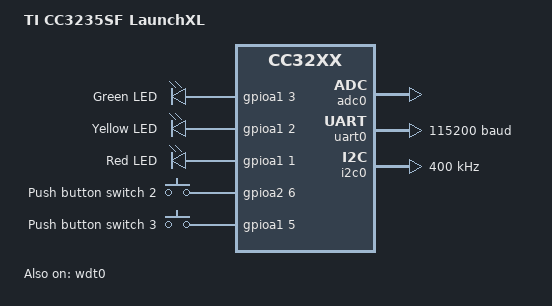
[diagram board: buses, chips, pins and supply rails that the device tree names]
/*
 * Copyright (c) 2019, Texas Instruments Incorporated
 *
 * SPDX-License-Identifier: Apache-2.0
 */

/dts-v1/;

#include <ti/cc3235sf.dtsi>
#include "cc3235sf_launchxl-pinctrl.dtsi"
#include <zephyr/dt-bindings/input/input-event-codes.h>

/ {
	model = "TI CC3235SF LaunchXL";
	compatible = "ti,cc3235sf-launchxl", "ti,cc3235sf", "ti,cc32xx";

	aliases {
		uart-0 = &uart0;
		uart-1 = &uart1;
		i2c-0 = &i2c0;
		led0 = &led0;
		led1 = &led1;
		led2 = &led2;
		/* sw0/1 alias defined for compatibility with samples */
		sw0 = &sw2;
		sw1 = &sw3;
		watchdog0 = &wdt0;
	};

	chosen {
		zephyr,sram = &sram0;
		zephyr,flash = &flash1;
		zephyr,console = &uart0;
		zephyr,shell-uart = &uart0;
	};

	leds {
		compatible = "gpio-leds";
		led0: led_0 {
			gpios = <&gpioa1 3 GPIO_ACTIVE_HIGH>;
			label = "Green LED";
		};
		led1: led_1 {
			gpios = <&gpioa1 2 GPIO_ACTIVE_HIGH>;
			label = "Yellow LED";
		};
		led2: led_2 {
			gpios = <&gpioa1 1 GPIO_ACTIVE_HIGH>;
			label = "Red LED";
		};
	};

	buttons {
		/* Push button 2 */
		compatible = "gpio-keys";
		sw2: button_0 {
			gpios = <&gpioa2 6 GPIO_ACTIVE_HIGH>;
			label = "Push button switch 2";
			zephyr,code = <INPUT_KEY_0>;
		};
		/* Push button 3 */
		sw3: button_1 {
			gpios = <&gpioa1 5 GPIO_ACTIVE_HIGH>;
			label = "Push button switch 3";
			zephyr,code = <INPUT_KEY_1>;
		};
	};
};

&adc0 {
	status = "okay";
};

&uart0 {
	status = "okay";
	current-speed = <115200>;
	pinctrl-0 = <&uart0_default>;
	pinctrl-names = "default";
};

&i2c0 {
	status = "okay";
	clock-frequency = <I2C_BITRATE_FAST>;
	pinctrl-0 = <&i2c0_default>;
	pinctrl-names = "default";
};

&wdt0 {
	status = "okay";
};
